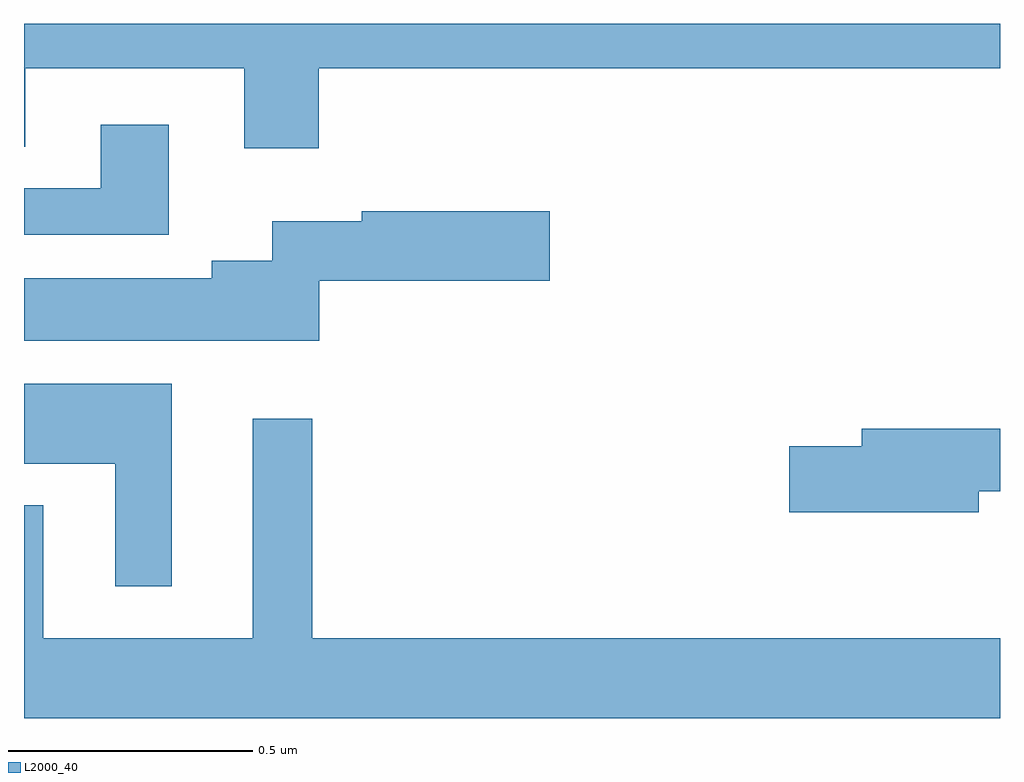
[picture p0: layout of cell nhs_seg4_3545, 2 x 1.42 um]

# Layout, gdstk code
import gdstk
lib = gdstk.Library(unit=1e-6, precision=1e-09)
def P(c, l, *ps):  # polygons
    for p in ps: c.add(gdstk.Polygon(p, *l))
L2000_40 = (2000, 40)

nhs_seg4_3545 = lib.new_cell('nhs_seg4_3545')
P(nhs_seg4_3545, L2000_40, [(154.604,808.808),(156,808.808),(156,808.9),(154,808.9),(154,808.648),(154.003,808.648),(154.003,808.808),(154.451,808.808),(154.451,808.644),(154.604,808.644)],
  [(154.297,808.693),(154.157,808.693),(154.157,808.563),(154,808.563),(154,808.467),(154.297,808.467)],
  [(154.605,808.373),(155.077,808.373),(155.077,808.515),(154.692,808.515),(154.692,808.495),(154.509,808.495),(154.509,808.414),(154.385,808.414),(154.385,808.378),(154,808.378),(154,808.25),(154.605,808.25)],
  [(154.303,808.162),(154,808.162),(154,807.998),(154.187,807.998),(154.187,807.747),(154.303,807.747)],
  [(156,807.64),(154.591,807.64),(154.591,808.09),(154.469,808.09),(154.469,807.64),(154.039,807.64),(154.039,807.913),(154,807.913),(154,807.476),(156,807.476)],
  [(155.956,807.942),(156,807.942),(156,808.07),(155.717,808.07),(155.717,808.034),(155.568,808.034),(155.568,807.899),(155.956,807.899)])

lib.write_gds('nhs_seg4_3545.gds')
